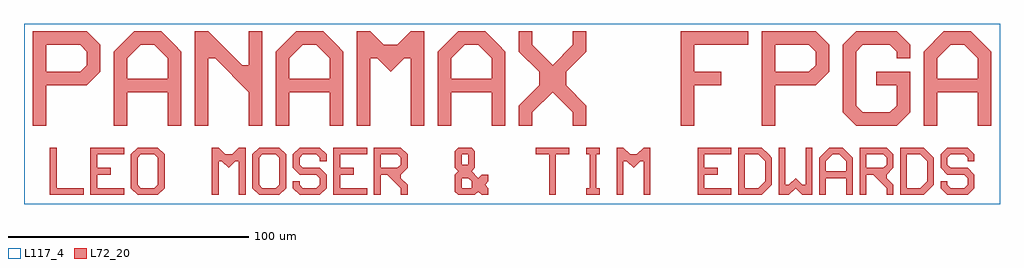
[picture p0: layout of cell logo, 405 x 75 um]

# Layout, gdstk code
import gdstk
lib = gdstk.Library(unit=1e-6, precision=1e-09)
def R(c, l, rs):  # rectangles x0, y0, x1, y1
    for r in rs: c.add(gdstk.rectangle(r[:2], r[2:], *l))
def P(c, l, *ps):  # polygons
    for p in ps: c.add(gdstk.Polygon(p, *l))
L72_20 = (72, 20)
L117_4 = (117, 4)

text = lib.new_cell('TEXT')

text_3 = lib.new_cell('TEXT$3')
P(text_3, L72_20, [(0,0),(0,19.6),(2.8,19.6),(2.8,2.8),(14,2.8),(14,0)],
  [(16.8,0),(16.8,19.6),(30.8,19.6),(30.8,16.8),(19.6,16.8),(19.6,11.2),(25.2,11.2),(25.2,8.4),(19.6,8.4),(19.6,2.8),(30.8,2.8),(30.8,0)],
  [(36.4,0),(33.6,2.8),(33.6,16.8),(36.4,19.6),(44.8,19.6),(47.6,16.8),(47.6,9.8),(44.8,9.8),(44.8,15.4),(43.4,16.8),(37.8,16.8),(36.4,15.4),(36.4,4.2),(37.8,2.8),(43.4,2.8),(44.8,4.2),(44.8,9.8),(47.6,9.8),(47.6,2.8),(44.8,0)],
  [(67.2,0),(67.2,19.6),(70,19.6),(72.8,16.8),(75.6,16.8),(78.4,19.6),(81.2,19.6),(81.2,0),(78.4,0),(78.4,14),(77,14),(74.2,11.2),(71.4,14),(70,14),(70,0)],
  [(86.8,0),(84,2.8),(84,16.8),(86.8,19.6),(95.2,19.6),(98,16.8),(98,9.8),(95.2,9.8),(95.2,15.4),(93.8,16.8),(88.2,16.8),(86.8,15.4),(86.8,4.2),(88.2,2.8),(93.8,2.8),(95.2,4.2),(95.2,9.8),(98,9.8),(98,2.8),(95.2,0)],
  [(103.6,0),(100.8,2.8),(100.8,5.6),(103.6,5.6),(103.6,4.2),(105,2.8),(110.6,2.8),(112,4.2),(112,7),(110.6,8.4),(103.6,8.4),(100.8,11.2),(100.8,16.8),(103.6,19.6),(112,19.6),(114.8,16.8),(114.8,14),(112,14),(112,15.4),(110.6,16.8),(105,16.8),(103.6,15.4),(103.6,12.6),(105,11.2),(112,11.2),(114.8,8.4),(114.8,2.8),(112,0)],
  [(117.6,0),(117.6,19.6),(131.6,19.6),(131.6,16.8),(120.4,16.8),(120.4,11.2),(126,11.2),(126,8.4),(120.4,8.4),(120.4,2.8),(131.6,2.8),(131.6,0)],
  [(134.4,0),(134.4,19.6),(145.6,19.6),(148.4,16.8),(137.2,16.8),(137.2,11.2),(144.2,11.2),(145.6,12.6),(145.6,15.4),(144.2,16.8),(148.4,16.8),(148.4,11.2),(145.6,8.4),(145.6,7),(148.4,4.2),(148.4,0),(145.6,0),(145.6,2.8),(140,8.4),(137.2,8.4),(137.2,0)],
  [(169.4,0),(168,1.4),(168,8.4),(169.4,9.8),(168,11.2),(168,18.2),(169.4,19.6),(175,19.6),(176.4,18.2),(176.4,16.8),(170.8,16.8),(170.8,12.6),(173.6,12.6),(173.6,16.8),(176.4,16.8),(176.4,11.2),(175,9.8),(177.8,7),(179.2,8.4),(182,8.4),(182,7),(170.8,7),(170.8,2.8),(175,2.8),(175,5.6),(173.6,7),(182,7),(182,5.6),(180.6,4.2),(182,2.8),(182,0),(179.2,0),(177.8,1.4),(176.4,0)],
  [(207.2,0),(207.2,16.8),(201.6,16.8),(201.6,19.6),(215.6,19.6),(215.6,16.8),(210,16.8),(210,0)],
  [(222.6,0),(222.6,2.8),(224,2.8),(224,16.8),(222.6,16.8),(222.6,19.6),(228.2,19.6),(228.2,16.8),(226.8,16.8),(226.8,2.8),(228.2,2.8),(228.2,0)],
  [(235.2,0),(235.2,19.6),(238,19.6),(240.8,16.8),(243.6,16.8),(246.4,19.6),(249.2,19.6),(249.2,0),(246.4,0),(246.4,14),(245,14),(242.2,11.2),(239.4,14),(238,14),(238,0)],
  [(268.8,0),(268.8,19.6),(282.8,19.6),(282.8,16.8),(271.6,16.8),(271.6,11.2),(277.2,11.2),(277.2,8.4),(271.6,8.4),(271.6,2.8),(282.8,2.8),(282.8,0)],
  [(285.6,0),(285.6,19.6),(295.4,19.6),(298.2,16.8),(288.4,16.8),(288.4,2.8),(294,2.8),(296.8,5.6),(296.8,14),(294,16.8),(298.2,16.8),(299.6,15.4),(299.6,4.2),(295.4,0)],
  [(302.4,0),(302.4,19.6),(305.2,19.6),(305.2,4.2),(306.6,4.2),(309.4,7),(312.2,4.2),(313.6,4.2),(313.6,19.6),(316.4,19.6),(316.4,0),(312.2,0),(309.4,2.8),(306.6,0)],
  [(319.2,0),(319.2,15.4),(323.4,19.6),(329,19.6),(331.8,16.8),(324.8,16.8),(322,14),(322,9.8),(330.4,9.8),(330.4,14),(327.6,16.8),(331.8,16.8),(333.2,15.4),(333.2,0),(330.4,0),(330.4,7),(322,7),(322,0)],
  [(336,0),(336,19.6),(347.2,19.6),(350,16.8),(338.8,16.8),(338.8,11.2),(345.8,11.2),(347.2,12.6),(347.2,15.4),(345.8,16.8),(350,16.8),(350,11.2),(347.2,8.4),(347.2,7),(350,4.2),(350,0),(347.2,0),(347.2,2.8),(341.6,8.4),(338.8,8.4),(338.8,0)],
  [(352.8,0),(352.8,19.6),(362.6,19.6),(365.4,16.8),(355.6,16.8),(355.6,2.8),(361.2,2.8),(364,5.6),(364,14),(361.2,16.8),(365.4,16.8),(366.8,15.4),(366.8,4.2),(362.6,0)],
  [(372.4,0),(369.6,2.8),(369.6,5.6),(372.4,5.6),(372.4,4.2),(373.8,2.8),(379.4,2.8),(380.8,4.2),(380.8,7),(379.4,8.4),(372.4,8.4),(369.6,11.2),(369.6,16.8),(372.4,19.6),(380.8,19.6),(383.6,16.8),(383.6,14),(380.8,14),(380.8,15.4),(379.4,16.8),(373.8,16.8),(372.4,15.4),(372.4,12.6),(373.8,11.2),(380.8,11.2),(383.6,8.4),(383.6,2.8),(380.8,0)])

text_2 = lib.new_cell('TEXT$2')
P(text_2, L72_20, [(0,0),(0,39.2),(22.4,39.2),(28,33.6),(28,22.4),(22.4,16.8),(5.6,16.8),(5.6,22.4),(19.6,22.4),(22.4,25.2),(22.4,30.8),(19.6,33.6),(5.6,33.6),(5.6,0)],
  [(33.6,0),(33.6,30.8),(42,39.2),(53.2,39.2),(58.8,33.6),(44.8,33.6),(39.2,28),(39.2,19.6),(56,19.6),(56,28),(50.4,33.6),(58.8,33.6),(61.6,30.8),(61.6,0),(56,0),(56,14),(39.2,14),(39.2,0)],
  [(67.2,0),(67.2,39.2),(72.8,39.2),(86.8,25.2),(89.6,25.2),(89.6,39.2),(95.2,39.2),(95.2,0),(89.6,0),(89.6,14),(75.6,28),(72.8,28),(72.8,0)],
  [(100.8,0),(100.8,30.8),(109.2,39.2),(120.4,39.2),(126,33.6),(112,33.6),(106.4,28),(106.4,19.6),(123.2,19.6),(123.2,28),(117.6,33.6),(126,33.6),(128.8,30.8),(128.8,0),(123.2,0),(123.2,14),(106.4,14),(106.4,0)],
  [(134.4,0),(134.4,39.2),(140,39.2),(145.6,33.6),(151.2,33.6),(156.8,39.2),(162.4,39.2),(162.4,0),(156.8,0),(156.8,28),(154,28),(148.4,22.4),(142.8,28),(140,28),(140,0)],
  [(168,0),(168,30.8),(176.4,39.2),(187.6,39.2),(193.2,33.6),(179.2,33.6),(173.6,28),(173.6,19.6),(190.4,19.6),(190.4,28),(184.8,33.6),(193.2,33.6),(196,30.8),(196,0),(190.4,0),(190.4,14),(173.6,14),(173.6,0)],
  [(201.6,0),(201.6,8.4),(210,16.8),(210,22.4),(201.6,30.8),(201.6,39.2),(207.2,39.2),(207.2,33.6),(215.6,25.2),(224,33.6),(224,39.2),(229.6,39.2),(229.6,30.8),(221.2,22.4),(221.2,16.8),(229.6,8.4),(229.6,0),(224,0),(224,5.6),(215.6,14),(207.2,5.6),(207.2,0)],
  [(268.8,0),(268.8,39.2),(296.8,39.2),(296.8,33.6),(274.4,33.6),(274.4,22.4),(285.6,22.4),(285.6,16.8),(274.4,16.8),(274.4,0)],
  [(302.4,0),(302.4,39.2),(324.8,39.2),(330.4,33.6),(330.4,22.4),(324.8,16.8),(308,16.8),(308,22.4),(322,22.4),(324.8,25.2),(324.8,30.8),(322,33.6),(308,33.6),(308,0)],
  [(341.6,0),(336,5.6),(336,33.6),(341.6,39.2),(358.4,39.2),(364,33.6),(364,28),(358.4,28),(358.4,30.8),(355.6,33.6),(344.4,33.6),(341.6,30.8),(341.6,8.4),(344.4,5.6),(355.6,5.6),(358.4,8.4),(358.4,16.8),(350,16.8),(350,22.4),(364,22.4),(364,5.6),(358.4,0)],
  [(369.6,0),(369.6,30.8),(378,39.2),(389.2,39.2),(394.8,33.6),(380.8,33.6),(375.2,28),(375.2,19.6),(392,19.6),(392,28),(386.4,33.6),(394.8,33.6),(397.6,30.8),(397.6,0),(392,0),(392,14),(375.2,14),(375.2,0)])

logo = lib.new_cell('logo')
R(logo, L117_4, [(-3.725,-3.915,401.275,71.085)])
logo.add(gdstk.Reference(text, (0.585,29.545)))
logo.add(gdstk.Reference(text_3, (7.02,0)))
logo.add(gdstk.Reference(text_2, (0,28.7)))

lib.write_gds('logo.gds')
